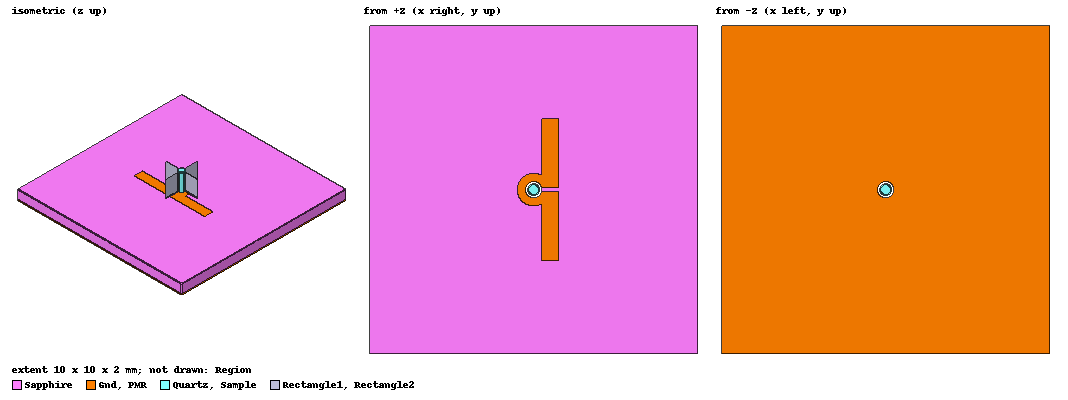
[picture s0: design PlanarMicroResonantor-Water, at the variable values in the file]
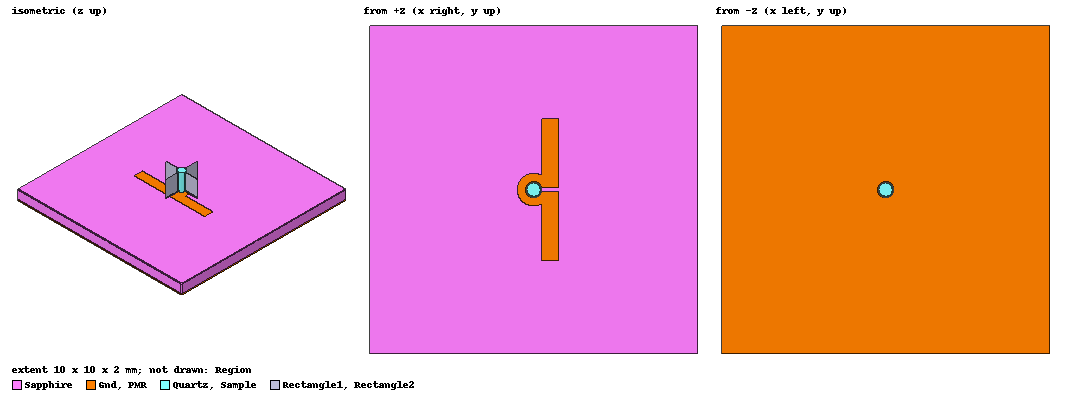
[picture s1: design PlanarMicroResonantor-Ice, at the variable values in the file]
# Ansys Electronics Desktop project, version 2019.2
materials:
  vacuum: permittivity=1
  Ice_Westphal_MIT: permittivity=3.2 dielectric_loss_tangent=0.0004
  gold: permeability=0.99996 conductivity=41000000
  sapphireCcut: permittivity=11 dielectric_loss_tangent=0.002
  silver: permeability=0.99998 conductivity=61000000
  Teflon (tm): permittivity=2.1 dielectric_loss_tangent=0.001
  quartz_glass: permittivity=3.78
  Water_XBand_Ellison: permittivity=63 permeability=0.999991 dielectric_loss_tangent=0.42

design PlanarMicroResonantor-Water (HFSS, Eigenmode, model units mm)
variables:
  width = 0.5mm
  length = 4.3mm
  gap_width = 0.1mm
  outer_rad = 0.5mm
  inner_rad = 0.25mm
  height = 0.01mm
  sample_rad = 0.15mm
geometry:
  PMR [gold] = box(corner=(0.25mm, -length/2, 0), size=(width, length, height))
  Gap = box(corner=(0mm, -gap_width/2, 0mm), size=(width+.5mm, gap_width, height))
  Loop = cylinder(axis=Z, base_centre=(0mm, 0mm, 0mm), radius=outer_rad, height=height, segments=36)
  hole = cylinder(axis=Z, base_centre=(0mm, 0mm, 0mm), radius=inner_rad, height=height, segments=36)
  PMR.unite(Loop)
  PMR.subtract(Gap, hole)
  Sapphire [sapphireCcut] = box(corner=(-5mm, -5mm, 0mm), size=(10mm, 10mm, -0.53mm))
  Gnd [gold] = box(corner=(-5mm, -5mm, -0.53mm), size=(10mm, 10mm, -0.07mm))
  Drill = cylinder(axis=Z, base_centre=(0mm, 0mm, -1mm), radius=inner_rad, height=2mm, segments=36)
  Drill_1 = Drill.copy()
  Gnd.subtract(Drill_1)
  Sapphire.subtract(Drill)
  Sample [Water_XBand_Ellison] = cylinder(axis=Z, base_centre=(0mm, 0mm, -1mm), radius=sample_rad, height=2mm, segments=36)
  Region [vacuum] = region(+X=0 percentage offset, -X=0 percentage offset, +Y=0 percentage offset, -Y=0 percentage offset, +Z=3mm absolute offset, -Z=3mm absolute offset)
  Rectangle1 = rectangle(corner=(0mm, -1mm, -1mm), y_size=2mm, z_size=2mm)
  Rectangle2 = rectangle(corner=(-1mm, 0mm, -1mm), z_size=2mm, x_size=2mm)
  Polyline1 = polyline((0mm, 0mm, -1mm) (0mm, 0mm, 1mm))
  Quartz [quartz_glass] = cylinder(axis=Z, base_centre=(0mm, 0mm, -1mm), radius=sample_rad+0.025mm, height=2mm, segments=36)
  Sample_1 = Sample.copy()
  Quartz.subtract(Sample_1)
  list Facelist1 = PMR.face(all 68) Gnd.face(all 42)
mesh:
  Length1: LengthBased Objects=PMR MaxLength=0.1mm
  Length2: LengthBased Objects=Quartz MaxLength=0.25mm
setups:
  Setup1: HfssEigen MinimumFrequency=8GHz NumModes=3 MaxDeltaFreq=0.01 ConvergeOnRealFreq=false MaximumPasses=3 MinimumPasses=1 MinimumConvergedPasses=1 PercentRefinement=30 BasisOrder=1
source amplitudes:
  #-10:1: 1 0deg
  #-10:2, #-10:3: 0 0deg
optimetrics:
  ParametricSetup1: Parametric Sim._Setups=[Setup1]
    sweep sample_rad: LIN 0.01mm 0.2mm 0.01mm
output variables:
  RefRes = mag(S(CoaxPort1,CoaxPort1))
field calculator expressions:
  Frq = Output_Variable(Freq, 4) | Real
  H1r = <Hx,Hy,Hz> | ComplexVector_Constant(0, 0, 1, 0, 0, 1) | Dot | Conj | <Hx,Hy,Hz> | ComplexVector_Constant(0, 0, 1, 0, 0, 1) | Dot | * | Real | Sqrt | 0.5 | *
  H1rMax = H1r | EnterVolume(Sample) | VolumeValue | Maximum
  ImDieHold = 0.002
  ImDieSam = 26.46
  IntH1r2dVs = <Hx,Hy,Hz> | ComplexVector_Constant(0, 0, 1, 0, 0, 1) | Dot | Conj | <Hx,Hy,Hz> | ComplexVector_Constant(0, 0, 1, 0, 0, 1) | Dot | * | Real | EnterVolume(Sample) | VolumeValue | Integrate | 0.25 | *
  Ple = Fundamental_Quantity(0) | Fundamental_Quantity(0) | Conj | Dot | Real | EnterVolume(Sapphire) | VolumeValue | Integrate | 8.85419e-12 | 3.14159 | ImDieHold | Frq | * | * | * | *
  Pls = Fundamental_Quantity(0) | Fundamental_Quantity(0) | Conj | Dot | Real | EnterVolume(Sample) | VolumeValue | Integrate | 8.85419e-12 | 3.14159 | ImDieSam | Frq | * | * | * | *
  Plw = <Hx,Hy,Hz> | <Hx,Hy,Hz> | Conj | Dot | Real | EnterSurface(Facelist1) | SurfaceValue | Integrate | 76.6549 | Frq | * | 3.14159 | * | Sqrt | 1/ | 61000000 | * | 2 | * | 1/ | *
  Ss = 3.14159 | 2 | Frq | * | * | IntH1r2dVs | * | H1rMax | 10000 | * | Ple | Pls | Plw | + | + | Sqrt | * | 1/ | *
  Su = IntH1r2dVs | 1.25664e-06 | Frq | * | 6.28319 | * | * | Ple | Pls | Plw | + | + | 1/ | *
  LambdaAve = H1r | EnterVolume(Sample) | VolumeValue | Integrate | 0.0125664 | * | 1 | EnterVolume(Sample) | VolumeValue | Integrate | 1/ | * | Pls | Plw | Ple | + | + | Sqrt | 1/ | *
  LambdaMax = H1rMax | 0.0125664 | * | Pls | Plw | Ple | + | + | Sqrt | 1/ | *
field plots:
  Mag_H1: H Field over a plane on Setup1 : LastAdaptive at Phase=90
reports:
   Table 1: Su, Ss, LambdaAve/10 vs sample_rad on Setup1 : LastAdaptive [Phase=0deg]
  Eigen Q Table 1: Q(1) vs sample_rad on Setup1 : LastAdaptive

design Helix-ICE (HFSS, Eigenmode, model units mm)
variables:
  sample_rad = 0.15mm
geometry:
  Helix [silver] = circle(normal=X, centre=(0mm, 0.27mm, -0.65mm), radius=0.06mm, segments=36)
  Helix.helix(XCenter=0mm YCenter=0mm ZCenter=0mm XStartDir=0mm YStartDir=0mm ZStartDir=1mm NumThread=7 RightHand=true RadiusIncrement=0mm Thread=0.175mm)
  Region [Teflon (tm)] = region(absolute_offset=1mm on all sides)
  Sample [Ice_Westphal_MIT] = cylinder(axis=Z, base_centre=(0mm, 0mm, -1mm), radius=sample_rad, height=2mm, segments=36)
  Rectangle2 = rectangle(corner=(-1mm, 0mm, -1mm), z_size=2mm, x_size=2mm)
  Polyline1 = polyline((0mm, 0mm, 1mm) (0mm, 0mm, -1mm))
  Rectangle3 = rectangle(corner=(0mm, -1mm, -1mm), y_size=2mm, z_size=2mm)
  Quartz [quartz_glass] = cylinder(axis=Z, base_centre=(0mm, 0mm, -1mm), radius=sample_rad+.05mm, height=2mm, segments=36)
  Sample_1 = Sample.copy()
  Quartz.subtract(Sample_1)
  list Facelist1 = Helix.face(all 38)
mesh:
  Length1: LengthBased Objects=Helix MaxLength=0.25mm
  Length2: LengthBased Objects=Helix MaxLength=0.25mm
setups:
  Setup1: HfssEigen MinimumFrequency=1GHz NumModes=3 MaxDeltaFreq=0.01 ConvergeOnRealFreq=false MaximumPasses=4 MinimumPasses=1 MinimumConvergedPasses=1 PercentRefinement=30 BasisOrder=1
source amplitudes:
  #-10:1: 1 0deg
  #-10:2, #-10:3: 0 0deg
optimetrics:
  ParametricSetup1: Parametric Sim._Setups=[Setup1]
    sweep sample_rad: LIN 0.01mm 0.16mm 0.01mm
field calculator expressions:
  Ple = 0
  Frq = Output_Variable(Freq, 4) | Real
  H1r = <Hx,Hy,Hz> | ComplexVector_Constant(0, 0, 1, 0, 0, 1) | Dot | Conj | <Hx,Hy,Hz> | ComplexVector_Constant(0, 0, 1, 0, 0, 1) | Dot | * | Real | Sqrt | 0.5 | *
  H1rMax = H1r | EnterVolume(Sample) | VolumeValue | Maximum
  ImDieHold = 0
  ImDieSam = 0.003
  IntH1r2dVs = <Hx,Hy,Hz> | ComplexVector_Constant(0, 0, 1, 0, 0, 1) | Dot | Conj | <Hx,Hy,Hz> | ComplexVector_Constant(0, 0, 1, 0, 0, 1) | Dot | * | Real | EnterVolume(Sample) | VolumeValue | Integrate | 0.25 | *
  Pls = Fundamental_Quantity(0) | Fundamental_Quantity(0) | Conj | Dot | Real | EnterVolume(Sample) | VolumeValue | Integrate | 8.85419e-12 | 3.14159 | ImDieSam | Frq | * | * | * | *
  Plw = <Hx,Hy,Hz> | <Hx,Hy,Hz> | Conj | Dot | Real | EnterSurface(Facelist1) | SurfaceValue | Integrate | 76.6549 | Frq | * | 3.14159 | * | Sqrt | 1/ | 61000000 | * | 2 | * | 1/ | *
  Ss = 3.14159 | 2 | Frq | * | * | IntH1r2dVs | * | H1rMax | 10000 | * | Ple | Pls | Plw | + | + | Sqrt | * | 1/ | *
  Su = IntH1r2dVs | 1.25664e-06 | Frq | * | 6.28319 | * | * | Ple | Pls | Plw | + | + | 1/ | *
  LambdaAve = H1r | EnterVolume(Sample) | VolumeValue | Integrate | 0.0125664 | * | 1 | EnterVolume(Sample) | VolumeValue | Integrate | 1/ | * | Pls | Plw | Ple | + | + | Sqrt | 1/ | *
  LambdaMax = H1rMax | 0.0125664 | * | Pls | Plw | Ple | + | + | Sqrt | 1/ | *
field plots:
  H1r1: NamedExpr over a plane on Setup1 : LastAdaptive at Phase=0deg
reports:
  Eigen Q Table 1: Q(1) vs sample_rad on Setup1 : LastAdaptive
   Table 1: Su, Ss, LambdaAve/10 vs sample_rad on Setup1 : LastAdaptive [Phase=0deg]

design Helix-Water (HFSS, Eigenmode, model units mm)
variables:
  sample_rad = 0.02mm
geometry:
  Helix [silver] = circle(normal=X, centre=(0mm, 0.27mm, -0.65mm), radius=0.06mm, segments=36)
  Helix.helix(XCenter=0mm YCenter=0mm ZCenter=0mm XStartDir=0mm YStartDir=0mm ZStartDir=1mm NumThread=6.5 RightHand=true RadiusIncrement=0mm Thread=0.18mm)
  Region [Teflon (tm)] = region(absolute_offset=1mm on all sides)
  Sample [Water_XBand_Ellison] = cylinder(axis=Z, base_centre=(0mm, 0mm, -1mm), radius=sample_rad, height=2mm, segments=36)
  Rectangle2 = rectangle(corner=(-1mm, 0mm, -1mm), z_size=2mm, x_size=2mm)
  Polyline1 = polyline((0mm, 0mm, 1mm) (0mm, 0mm, -1mm))
  Rectangle3 = rectangle(corner=(0mm, -1mm, -1mm), y_size=2mm, z_size=2mm)
  Quartz [quartz_glass] = cylinder(axis=Z, base_centre=(0mm, 0mm, -1mm), radius=sample_rad+.025mm, height=2mm, segments=36)
  Sample_1 = Sample.copy()
  Quartz.subtract(Sample_1)
  list Facelist1 = Helix.face(all 38)
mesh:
  Length1: LengthBased Objects=Helix MaxLength=0.25mm
  Length2: LengthBased Objects=Quartz MaxLength=0.25mm
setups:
  Setup1: HfssEigen MinimumFrequency=7.5GHz NumModes=3 MaxDeltaFreq=0.01 ConvergeOnRealFreq=false MaximumPasses=4 MinimumPasses=1 MinimumConvergedPasses=1 PercentRefinement=30 BasisOrder=1
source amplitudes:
  #-10:1: 1 0deg
  #-10:2, #-10:3: 0 0deg
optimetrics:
  ParametricSetup1: Parametric Sim._Setups=[Setup1]
    sweep sample_rad: LIN 0.01mm 0.18mm 0.01mm
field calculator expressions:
  Ple = 0
  Frq = Output_Variable(Freq, 4) | Real
  H1r = <Hx,Hy,Hz> | ComplexVector_Constant(0, 0, 1, 0, 0, 1) | Dot | Conj | <Hx,Hy,Hz> | ComplexVector_Constant(0, 0, 1, 0, 0, 1) | Dot | * | Real | Sqrt | 0.5 | *
  H1rMax = H1r | EnterVolume(Sample) | VolumeValue | Maximum
  ImDieHold = 0.0001
  ImDieSam = 26.46
  IntH1r2dVs = <Hx,Hy,Hz> | ComplexVector_Constant(0, 0, 1, 0, 0, 1) | Dot | Conj | <Hx,Hy,Hz> | ComplexVector_Constant(0, 0, 1, 0, 0, 1) | Dot | * | Real | EnterVolume(Sample) | VolumeValue | Integrate | 0.25 | *
  Pls = Fundamental_Quantity(0) | Fundamental_Quantity(0) | Conj | Dot | Real | EnterVolume(Sample) | VolumeValue | Integrate | 8.85419e-12 | 3.14159 | ImDieSam | Frq | * | * | * | *
  Plw = <Hx,Hy,Hz> | <Hx,Hy,Hz> | Conj | Dot | Real | EnterSurface(Facelist1) | SurfaceValue | Integrate | 76.6549 | Frq | * | 3.14159 | * | Sqrt | 1/ | 61000000 | * | 2 | * | 1/ | *
  Ss = 3.14159 | 2 | Frq | * | * | IntH1r2dVs | * | H1rMax | 10000 | * | Ple | Pls | Plw | + | + | Sqrt | * | 1/ | *
  Su = IntH1r2dVs | 1.25664e-06 | Frq | * | 6.28319 | * | * | Ple | Pls | Plw | + | + | 1/ | *
  LambdaAve = H1r | EnterVolume(Sample) | VolumeValue | Integrate | 0.0125664 | * | 1 | EnterVolume(Sample) | VolumeValue | Integrate | 1/ | * | Pls | Plw | Ple | + | + | Sqrt | 1/ | *
  LambdaMax = H1rMax | 0.0125664 | * | Pls | Plw | Ple | + | + | Sqrt | 1/ | *
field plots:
  Mag_H1: H Field over a plane on Setup1 : LastAdaptive at Phase=90
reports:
   Table 1: Su, Ss, LambdaAve/10 vs sample_rad on Setup1 : LastAdaptive [Phase=0deg]
  Eigen Q Table 1: Q(1) vs sample_rad on Setup1 : LastAdaptive

design PlanarMicroResonantor-Ice (HFSS, Eigenmode, model units mm)
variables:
  width = 0.5mm
  length = 4.3mm
  gap_width = 0.1mm
  outer_rad = 0.5mm
  inner_rad = 0.25mm
  height = 0.01mm
  sample_rad = 0.2mm
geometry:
  PMR [gold] = box(corner=(0.25mm, -length/2, 0), size=(width, length, height))
  Gap = box(corner=(0mm, -gap_width/2, 0mm), size=(width+.5mm, gap_width, height))
  Loop = cylinder(axis=Z, base_centre=(0mm, 0mm, 0mm), radius=outer_rad, height=height, segments=36)
  hole = cylinder(axis=Z, base_centre=(0mm, 0mm, 0mm), radius=inner_rad, height=height, segments=36)
  PMR.unite(Loop)
  PMR.subtract(Gap, hole)
  Sapphire [sapphireCcut] = box(corner=(-5mm, -5mm, 0mm), size=(10mm, 10mm, -0.53mm))
  Gnd [gold] = box(corner=(-5mm, -5mm, -0.53mm), size=(10mm, 10mm, -0.07mm))
  Drill = cylinder(axis=Z, base_centre=(0mm, 0mm, -1mm), radius=inner_rad, height=2mm, segments=36)
  Drill_1 = Drill.copy()
  Gnd.subtract(Drill_1)
  Sapphire.subtract(Drill)
  Sample [Ice_Westphal_MIT] = cylinder(axis=Z, base_centre=(0mm, 0mm, -1mm), radius=sample_rad, height=2mm, segments=36)
  Region [vacuum] = region(+X=0 percentage offset, -X=0 percentage offset, +Y=0 percentage offset, -Y=0 percentage offset, +Z=3mm absolute offset, -Z=3mm absolute offset)
  Rectangle1 = rectangle(corner=(0mm, -1mm, -1mm), y_size=2mm, z_size=2mm)
  Rectangle2 = rectangle(corner=(-1mm, 0mm, -1mm), z_size=2mm, x_size=2mm)
  Polyline1 = polyline((0mm, 0mm, -1mm) (0mm, 0mm, 1mm))
  Quartz [quartz_glass] = cylinder(axis=Z, base_centre=(0mm, 0mm, -1mm), radius=sample_rad+0.025mm, height=2mm, segments=36)
  Sample_1 = Sample.copy()
  Quartz.subtract(Sample_1)
  list Facelist1 = PMR.face(all 68) Gnd.face(all 42)
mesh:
  Length1: LengthBased Objects=PMR MaxLength=0.1mm
  Length2: LengthBased Objects=Quartz MaxLength=0.1mm
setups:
  Setup1: HfssEigen MinimumFrequency=8GHz NumModes=3 MaxDeltaFreq=0.01 ConvergeOnRealFreq=false MaximumPasses=5 MinimumPasses=1 MinimumConvergedPasses=1 PercentRefinement=30 BasisOrder=1
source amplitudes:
  #-10:1: 1 0deg
  #-10:2, #-10:3: 0 0deg
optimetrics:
  ParametricSetup1: Parametric Sim._Setups=[Setup1]
    sweep sample_rad: LIN 0.01mm 0.2mm 0.01mm
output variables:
  RefRes = mag(S(CoaxPort1,CoaxPort1))
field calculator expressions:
  Frq = Output_Variable(Freq, 4) | Real
  H1r = <Hx,Hy,Hz> | ComplexVector_Constant(0, 0, 1, 0, 0, 1) | Dot | Conj | <Hx,Hy,Hz> | ComplexVector_Constant(0, 0, 1, 0, 0, 1) | Dot | * | Real | Sqrt | 0.5 | *
  H1rMax = H1r | EnterVolume(Sample) | VolumeValue | Maximum
  ImDieHold = 0.002
  ImDieSam = 0.003
  IntH1r2dVs = <Hx,Hy,Hz> | ComplexVector_Constant(0, 0, 1, 0, 0, 1) | Dot | Conj | <Hx,Hy,Hz> | ComplexVector_Constant(0, 0, 1, 0, 0, 1) | Dot | * | Real | EnterVolume(Sample) | VolumeValue | Integrate | 0.25 | *
  Ple = Fundamental_Quantity(0) | Fundamental_Quantity(0) | Conj | Dot | Real | EnterVolume(Sapphire) | VolumeValue | Integrate | 8.85419e-12 | 3.14159 | ImDieHold | Frq | * | * | * | *
  Pls = Fundamental_Quantity(0) | Fundamental_Quantity(0) | Conj | Dot | Real | EnterVolume(Sample) | VolumeValue | Integrate | 8.85419e-12 | 3.14159 | ImDieSam | Frq | * | * | * | *
  Plw = <Hx,Hy,Hz> | <Hx,Hy,Hz> | Conj | Dot | Real | EnterSurface(Facelist1) | SurfaceValue | Integrate | 76.6549 | Frq | * | 3.14159 | * | Sqrt | 1/ | 61000000 | * | 2 | * | 1/ | *
  Ss = 3.14159 | 2 | Frq | * | * | IntH1r2dVs | * | H1rMax | 10000 | * | Ple | Pls | Plw | + | + | Sqrt | * | 1/ | *
  Su = IntH1r2dVs | 1.25664e-06 | Frq | * | 6.28319 | * | * | Ple | Pls | Plw | + | + | 1/ | *
  LambdaAve = H1r | EnterVolume(Sample) | VolumeValue | Integrate | 0.0125664 | * | 1 | EnterVolume(Sample) | VolumeValue | Integrate | 1/ | * | Pls | Plw | Ple | + | + | Sqrt | 1/ | *
  LambdaMax = H1rMax | 0.0125664 | * | Pls | Plw | Ple | + | + | Sqrt | 1/ | *
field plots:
  H1r1: NamedExpr over a plane on Setup1 : LastAdaptive at Phase=0deg
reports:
   Table 1: Su, Ss, LambdaAve/10 vs sample_rad on Setup1 : LastAdaptive [Phase=0deg]
  Eigen Q Table 1: Q(1) vs sample_rad on Setup1 : LastAdaptive
